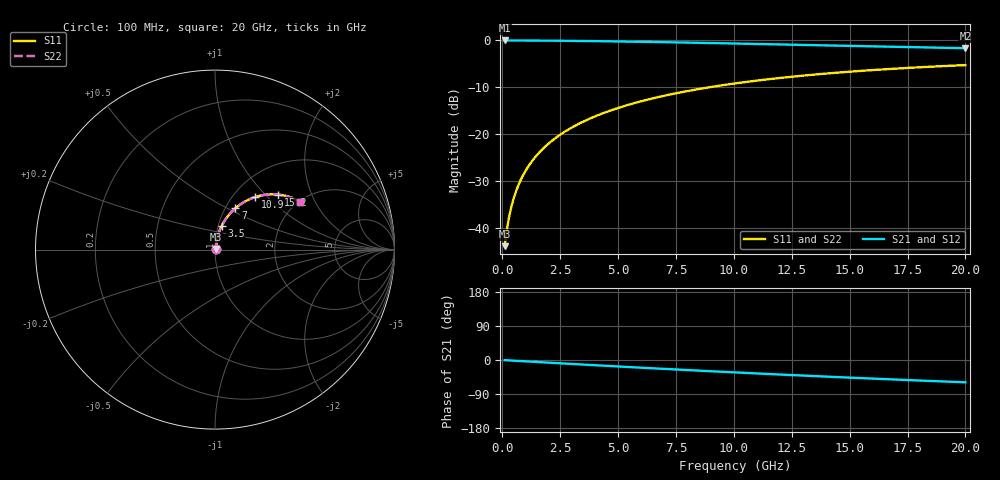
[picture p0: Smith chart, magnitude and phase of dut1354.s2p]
! Touchstone file exported from HFSS 2026.1.0
!  File:  C:/ffzhzh/LocalFiles/Ansys_Project_Files/temp_train_BSMRDL_1354_1783179089_22436.aedt
!  Generated:  11:32:49 PM Jul  4, 2026
!  Design:  BSMRDL
!  Project:  temp_train_BSMRDL_1354_1783179089_22436
! Variables:
!  h_bsmrdl = 5.23um
!  h_ox = 20um
!  h_rdl = 5um
!  h_sub = 80um
!  h_tmrdl = 5um
!  h_tsv = 80um
!  h_via = 3um
!  l_bsmrdl = 912.63um
!  l_sub = 1312.63um
!  l_tmrdl = 200um
!  m_sub = 200um
!  pitch = 42.23um
!  r_tsv = 6um
!  s_tmrdl = 10um
!  w_bsmrdl = 12.74um
!  w_sub = 500um
!  w_tmrdl = 12um
!  x_tsv_center1 = 206um
!  x_tsv_center2 = 1131.37um
!  x_tsv_center3 = 1343.37um
!  x_tsv_center4 = 2268.74um
!  x_tsv_center5 = 2480.74um
!  x_tsv_center6 = 3406.11um
# GHz S MA R 50.000000
! Terminal data exported
! Port[1] = BSM_RDL1_1_T1
! Port[2] = BSM_RDL1_1_T2
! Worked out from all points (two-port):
!   200 points, 100 MHz to 20 GHz, reference 50 ohm
!   highest |S21| = -0.04 dB at 100 MHz (marker M1); lowest = -1.7 dB at 20 GHz (marker M2)
!   |S21| within 3 dB of the highest: start of sweep to end of sweep
!   lowest |S11| = -43.9 dB at 100 MHz (marker M3), VSWR 1.01, Z = 50.5 + j0.419 ohm
!   |S11| at or under -10 dB: start of sweep to 8.956 GHz
!   |S22| runs from -43.9 to -5.3 dB; largest |S21 - S12| = 4.4e-15
!   S11 on the Smith chart (normalised r, x): 100 MHz: 1.01, +0.01; 3.5 GHz: 1.04, +0.28; 7 GHz: 1.11, +0.55; 10.9 GHz: 1.26, +0.85; 15.2 GHz: 1.52, +1.19; 20 GHz: 2.02, +1.53
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0.1  0.006415 40.3  0.9951 -0.4  0.9951 -0.4  0.006415 40.3
! Gamma 0 0 0 0
! Port Impedance 50 0 50 0
0.2  0.009688 58.3  0.995 -0.7  0.995 -0.7  0.009688 58.3
0.3  0.01338 66.4  0.9948 -1.1  0.9948 -1.1  0.01338 66.4
0.4  0.01718 70.7  0.9946 -1.4  0.9946 -1.4  0.01718 70.7
0.5  0.02102 73.4  0.9944 -1.8  0.9944 -1.8  0.02102 73.4
0.6  0.02489 75.2  0.9942 -2.1  0.9942 -2.1  0.02489 75.2
0.8  0.03267 77.2  0.9938 -2.8  0.9938 -2.8  0.03267 77.2
1.1  0.04439 78.5  0.9932 -3.9  0.9932 -3.9  0.04439 78.5
1.5  0.06001 78.8  0.992 -5.3  0.992 -5.3  0.06001 78.8
2.1  0.08329 78.0  0.9898 -7.3  0.9898 -7.3  0.08329 78.0
2.7  0.1062 76.6  0.9869 -9.4  0.9869 -9.4  0.1062 76.6
3.5  0.1362 74.3  0.9823 -12.1  0.9823 -12.1  0.1362 74.3
5  0.19 69.8  0.9715 -17.1  0.9715 -17.1  0.19 69.8
6.8  0.2504 64.4  0.956 -22.9  0.956 -22.9  0.2504 64.3
7  0.2568 63.8  0.9542 -23.5  0.9542 -23.5  0.2568 63.7
8.5  0.3029 59.3  0.9396 -28.1  0.9396 -28.1  0.3029 59.3
10.1  0.3483 54.7  0.923 -32.9  0.923 -32.9  0.3483 54.7
10.9  0.3695 52.5  0.9145 -35.2  0.9145 -35.2  0.3695 52.5
13.4  0.4293 45.7  0.8877 -42.3  0.8877 -42.3  0.4294 45.7
15.2  0.4666 41.1  0.8687 -47.1  0.8687 -47.1  0.4666 41.0
16.7  0.494 37.3  0.8536 -50.9  0.8536 -50.9  0.4941 37.3
20  0.5439 29.5  0.8233 -58.9  0.8233 -58.9  0.5439 29.5
